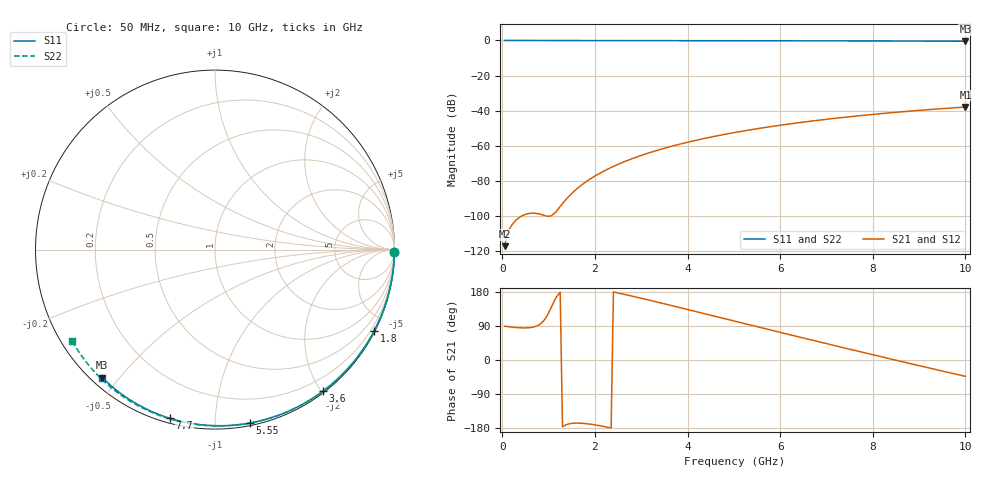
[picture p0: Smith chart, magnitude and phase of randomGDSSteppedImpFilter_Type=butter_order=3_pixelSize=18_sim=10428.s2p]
! freq	dB(S11)	phase(S11)	dB(S12)	phase(S12)
!  dB(S21)	phase(S21)	dB(S22)	phase(S22)
!S-par simulation data
#  GHz  S  DB  R 50
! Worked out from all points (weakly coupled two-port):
!   200 points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, 50 MHz to 10 GHz, reference 50 ohm
!   highest |S21| = -37.89 dB at 10 GHz (marker M1); lowest = -117.1 dB at 50 MHz (marker M2)
!   lowest |S11| = -0.4 dB at 10 GHz (marker M3), VSWR 39.08, Z = 1.54 - j22.6 ohm
!   |S11| at or under -10 dB: nowhere
!   |S22| runs from -0.5 to 0.0 dB; largest |S21 - S12| = 0
!   S11 on the Smith chart (normalised r, x): 50 MHz: open; 1.8 GHz: 0.04, -4.18; 3.6 GHz: 0.02, -2.02; 5.55 GHz: 0.02, -1.22; 7.7 GHz: 0.02, -0.77; 10 GHz: 0.03, -0.45
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0.05  -0.00 -0.8  -117.11 89.2  -117.11 89.2  -0.00 -0.9
0.45  -0.01 -6.8  -99.52 84.6  -99.52 84.6  -0.01 -7.6
0.9  -0.02 -13.6  -99.56 104.4  -99.56 104.4  -0.02 -15.1
1.3  -0.02 -19.6  -92.90 -176.1  -92.90 -176.1  -0.03 -21.7
1.75  -0.03 -26.2  -81.54 -167.2  -81.54 -167.2  -0.04 -29.1
1.8  -0.03 -26.9  -80.59 -167.8  -80.59 -167.8  -0.04 -29.9
1.85  -0.04 -27.7  -79.69 -168.5  -79.69 -168.5  -0.04 -30.7
2.05  -0.04 -30.6  -76.41 -172.2  -76.41 -172.2  -0.04 -34.0
2.25  -0.04 -33.5  -73.60 -176.7  -73.60 -176.7  -0.05 -37.2
2.55  -0.05 -37.8  -69.96 175.5  -69.96 175.5  -0.05 -42.0
2.95  -0.06 -43.5  -65.91 164.4  -65.91 164.4  -0.06 -48.3
3.4  -0.07 -49.9  -62.12 151.3  -62.12 151.3  -0.07 -55.3
3.6  -0.07 -52.7  -60.63 145.3  -60.63 145.3  -0.08 -58.4
4.3  -0.09 -62.2  -56.14 124.3  -56.14 124.3  -0.10 -68.9
5.05  -0.11 -72.2  -52.25 101.6  -52.25 101.6  -0.12 -79.9
5.55  -0.13 -78.7  -50.05 86.5  -50.05 86.5  -0.14 -87.0
6.1  -0.15 -85.6  -47.90 70.0  -47.90 70.0  -0.17 -94.7
6.7  -0.18 -93.0  -45.83 52.1  -45.83 52.1  -0.20 -102.9
7.7  -0.24 -105.0  -42.88 22.6  -42.88 22.6  -0.27 -116.3
8.35  -0.29 -112.6  -41.24 3.7  -41.24 3.7  -0.32 -124.9
9.2  -0.36 -122.4  -39.39 -20.7  -39.39 -20.7  -0.40 -136.2
10  -0.44 -131.4  -37.89 -43.0  -37.89 -43.0  -0.50 -147.3
